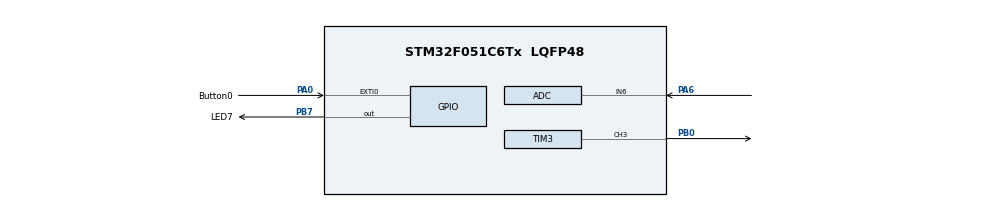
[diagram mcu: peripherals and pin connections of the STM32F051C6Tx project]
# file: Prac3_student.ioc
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ADC.Resolution=ADC_RESOLUTION_12B
Mcu.Family=STM32F0
Mcu.Name=STM32F051C6Tx
Mcu.Package=LQFP48
PA0.GPIO_Label=Button0
PA0.GPIO_PuPd=GPIO_PULLUP
PA0.Signal=GPXTI0
PA13.Mode=Serial_Wire
PA13.Signal=SYS_SWDIO
PA14.Mode=Serial_Wire
PA14.Signal=SYS_SWCLK
PA6.Mode=IN6
PA6.Signal=ADC_IN6
PB0.Signal=S_TIM3_CH3
PB7.GPIO_Label=LED7
PB7.Signal=GPIO_Output
PF0-OSC_IN.Mode=HSE-External-Oscillator
PF0-OSC_IN.Signal=RCC_OSC_IN
PF1-OSC_OUT.Mode=HSE-External-Oscillator
PF1-OSC_OUT.Signal=RCC_OSC_OUT
ProjectManager.HeapSize=0x200
ProjectManager.StackSize=0x400
ProjectManager.TargetToolchain=STM32CubeIDE
SH.S_TIM3_CH3.0=TIM3_CH3,PWM Generation3 CH3
TIM3.Channel-PWM\ Generation3\ CH3=TIM_CHANNEL_3
TIM3.Period=47999
VP_TIM3_VS_ClockSourceINT.Mode=Internal
board=custom

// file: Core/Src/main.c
/* USER CODE BEGIN Header */
/**
 ******************************************************************************
 * @file           : main.c
 * @brief          : Main program body
 ******************************************************************************
 * @attention
 *
 * Copyright (c) 2023 STMicroelectronics.
 * All rights reserved.
 *
 * This software is licensed under terms that can be found in the LICENSE file
 * in the root directory of this software component.
 * If no LICENSE file comes with this software, it is provided AS-IS.
 *
 ******************************************************************************
 */
/* USER CODE END Header */
#include "main.h"

/* USER CODE BEGIN Includes */
#include <stdio.h>
#include <lcd_stm32f0.c>
#include "stm32f0xx.h"
/* USER CODE END Includes */

ADC_HandleTypeDef hadc;

TIM_HandleTypeDef htim3;

/* USER CODE BEGIN PV */
uint32_t prev_millis = 0;
uint32_t curr_millis = 0;
uint32_t delay_t = 1000;  // Initialise delay to 500ms
uint32_t adc_val;
/* USER CODE END PV */

void SystemClock_Config(void);
static void MX_GPIO_Init(void);
static void MX_ADC_Init(void);
static void MX_TIM3_Init(void);
/* USER CODE BEGIN PFP */
void EXTI0_1_IRQHandler(void);
void writeLCD(char* char_in);
uint32_t pollADC(void);
uint32_t ADCtoCCR(uint32_t adc_val);
/* USER CODE END PFP */

int main(void) {

	/* MCU Configuration--------------------------------------------------------*/

	/* Reset of all peripherals, Initializes the Flash interface and the Systick. */
	HAL_Init();

	/* Configure the system clock */
	SystemClock_Config();

	/* Initialize all configured peripherals */
	MX_GPIO_Init();
	MX_ADC_Init();
	MX_TIM3_Init();
	/* USER CODE BEGIN 2 */
	init_LCD();

	// PWM setup
	uint32_t CCR = 0;
	HAL_TIM_PWM_Start(&htim3, TIM_CHANNEL_3);  // Start PWM on TIM3 Channel 3
	HAL_GPIO_TogglePin(GPIOB, LL_GPIO_PIN_0);

	/* USER CODE END 2 */

	/* Infinite loop */
	/* USER CODE BEGIN WHILE */
	while (1) {
		// Toggle LED0
		HAL_GPIO_TogglePin(GPIOB, LED7_Pin);

		// ADC to LCD; TODO: Read POT1 value and write to LCD
		char* value[5];
		adc_val = pollADC();			 // Get the value of the ADC
		sprintf(value, "%lu", adc_val);	 // convert to string
		writeLCD(value);				 // Write value to LCD
		// lcd_command(CLEAR);
		// lcd_putchar(val++);
		// Update PWM value; TODO: Get CRR
		CCR = ADCtoCCR(adc_val);						   // Get CRR value
		__HAL_TIM_SetCompare(&htim3, TIM_CHANNEL_3, CCR);  // Update PWM value

		// Wait for delay ms
		HAL_Delay(delay_t);
		/* USER CODE END WHILE */

	}
}

void SystemClock_Config(void) {
	LL_FLASH_SetLatency(LL_FLASH_LATENCY_0);
	while (LL_FLASH_GetLatency() != LL_FLASH_LATENCY_0) {
	}
	LL_RCC_HSI_Enable();

	/* Wait till HSI is ready */
	while (LL_RCC_HSI_IsReady() != 1) {
	}
	LL_RCC_HSI_SetCalibTrimming(16);
	LL_RCC_HSI14_Enable();

	/* Wait till HSI14 is ready */
	while (LL_RCC_HSI14_IsReady() != 1) {
	}
	LL_RCC_HSI14_SetCalibTrimming(16);
	LL_RCC_SetAHBPrescaler(LL_RCC_SYSCLK_DIV_1);
	LL_RCC_SetAPB1Prescaler(LL_RCC_APB1_DIV_1);
	LL_RCC_SetSysClkSource(LL_RCC_SYS_CLKSOURCE_HSI);

	/* Wait till System clock is ready */
	while (LL_RCC_GetSysClkSource() != LL_RCC_SYS_CLKSOURCE_STATUS_HSI) {
	}
	LL_SetSystemCoreClock(8000000);

	/* Update the time base */
	if (HAL_InitTick(TICK_INT_PRIORITY) != HAL_OK) {
		Error_Handler();
	}
	LL_RCC_HSI14_EnableADCControl();
}

static void MX_ADC_Init(void) {

	ADC_ChannelConfTypeDef sConfig = {0};

	/** Configure the global features of the ADC (Clock, Resolution, Data Alignment and number of conversion)
	 */
	hadc.Instance = ADC1;
	hadc.Init.ClockPrescaler = ADC_CLOCK_ASYNC_DIV1;
	hadc.Init.Resolution = ADC_RESOLUTION_12B;
	hadc.Init.DataAlign = ADC_DATAALIGN_RIGHT;
	hadc.Init.ScanConvMode = ADC_SCAN_DIRECTION_FORWARD;
	hadc.Init.EOCSelection = ADC_EOC_SINGLE_CONV;
	hadc.Init.LowPowerAutoWait = DISABLE;
	hadc.Init.LowPowerAutoPowerOff = DISABLE;
	hadc.Init.ContinuousConvMode = DISABLE;
	hadc.Init.DiscontinuousConvMode = DISABLE;
	hadc.Init.ExternalTrigConv = ADC_SOFTWARE_START;
	hadc.Init.ExternalTrigConvEdge = ADC_EXTERNALTRIGCONVEDGE_NONE;
	hadc.Init.DMAContinuousRequests = DISABLE;
	hadc.Init.Overrun = ADC_OVR_DATA_PRESERVED;
	if (HAL_ADC_Init(&hadc) != HAL_OK) {
		Error_Handler();
	}

	/** Configure for the selected ADC regular channel to be converted.
	 */
	sConfig.Channel = ADC_CHANNEL_7;
	sConfig.Rank = ADC_RANK_CHANNEL_NUMBER;
	sConfig.SamplingTime = ADC_SAMPLETIME_1CYCLE_5;
	if (HAL_ADC_ConfigChannel(&hadc, &sConfig) != HAL_OK) {
		Error_Handler();
	}
	/* USER CODE BEGIN ADC_Init 2 */
	ADC1->CR |= ADC_CR_ADCAL;
	while (ADC1->CR & ADC_CR_ADCAL)
		;				   // Calibrate the ADC
	ADC1->CR |= (1 << 0);  // Enable ADC
	while ((ADC1->ISR & (1 << 0)) == 0)
		;  // Wait for ADC ready
		   /* USER CODE END ADC_Init 2 */
}

static void MX_TIM3_Init(void) {

	TIM_ClockConfigTypeDef sClockSourceConfig = {0};
	TIM_MasterConfigTypeDef sMasterConfig = {0};
	TIM_OC_InitTypeDef sConfigOC = {0};

	htim3.Instance = TIM3;
	htim3.Init.Prescaler = 0;
	htim3.Init.CounterMode = TIM_COUNTERMODE_UP;
	htim3.Init.Period = 47999;
	htim3.Init.ClockDivision = TIM_CLOCKDIVISION_DIV1;
	htim3.Init.AutoReloadPreload = TIM_AUTORELOAD_PRELOAD_DISABLE;
	if (HAL_TIM_Base_Init(&htim3) != HAL_OK) {
		Error_Handler();
	}
	sClockSourceConfig.ClockSource = TIM_CLOCKSOURCE_INTERNAL;
	if (HAL_TIM_ConfigClockSource(&htim3, &sClockSourceConfig) != HAL_OK) {
		Error_Handler();
	}
	if (HAL_TIM_PWM_Init(&htim3) != HAL_OK) {
		Error_Handler();
	}
	sMasterConfig.MasterOutputTrigger = TIM_TRGO_RESET;
	sMasterConfig.MasterSlaveMode = TIM_MASTERSLAVEMODE_DISABLE;
	if (HAL_TIMEx_MasterConfigSynchronization(&htim3, &sMasterConfig) != HAL_OK) {
		Error_Handler();
	}
	sConfigOC.OCMode = TIM_OCMODE_PWM1;
	sConfigOC.Pulse = 0;
	sConfigOC.OCPolarity = TIM_OCPOLARITY_HIGH;
	sConfigOC.OCFastMode = TIM_OCFAST_DISABLE;
	if (HAL_TIM_PWM_ConfigChannel(&htim3, &sConfigOC, TIM_CHANNEL_3) != HAL_OK) {
		Error_Handler();
	}
	HAL_TIM_MspPostInit(&htim3);
}

static void MX_GPIO_Init(void) {
	LL_EXTI_InitTypeDef EXTI_InitStruct = {0};
	LL_GPIO_InitTypeDef GPIO_InitStruct = {0};

	/* GPIO Ports Clock Enable */
	LL_AHB1_GRP1_EnableClock(LL_AHB1_GRP1_PERIPH_GPIOF);
	LL_AHB1_GRP1_EnableClock(LL_AHB1_GRP1_PERIPH_GPIOA);
	LL_AHB1_GRP1_EnableClock(LL_AHB1_GRP1_PERIPH_GPIOB);

	/**/
	LL_GPIO_ResetOutputPin(LED7_GPIO_Port, LED7_Pin);

	/**/
	LL_SYSCFG_SetEXTISource(LL_SYSCFG_EXTI_PORTA, LL_SYSCFG_EXTI_LINE0);

	/**/
	LL_GPIO_SetPinPull(Button0_GPIO_Port, Button0_Pin, LL_GPIO_PULL_UP);

	/**/
	LL_GPIO_SetPinMode(Button0_GPIO_Port, Button0_Pin, LL_GPIO_MODE_INPUT);

	/**/
	EXTI_InitStruct.Line_0_31 = LL_EXTI_LINE_0;
	EXTI_InitStruct.LineCommand = ENABLE;
	EXTI_InitStruct.Mode = LL_EXTI_MODE_IT;
	EXTI_InitStruct.Trigger = LL_EXTI_TRIGGER_RISING;
	LL_EXTI_Init(&EXTI_InitStruct);

	/**/
	GPIO_InitStruct.Pin = LED7_Pin;
	GPIO_InitStruct.Mode = LL_GPIO_MODE_OUTPUT;
	GPIO_InitStruct.Speed = LL_GPIO_SPEED_FREQ_LOW;
	GPIO_InitStruct.OutputType = LL_GPIO_OUTPUT_PUSHPULL;
	GPIO_InitStruct.Pull = LL_GPIO_PULL_NO;
	LL_GPIO_Init(LED7_GPIO_Port, &GPIO_InitStruct);

	/* USER CODE BEGIN MX_GPIO_Init_2 */
	HAL_NVIC_SetPriority(EXTI0_1_IRQn, 0, 0);
	HAL_NVIC_EnableIRQ(EXTI0_1_IRQn);
	/* USER CODE END MX_GPIO_Init_2 */
}

/* USER CODE BEGIN 4 */
void EXTI0_1_IRQHandler(void) {
	// TODO: Add code to switch LED7 delay frequency

	curr_millis = HAL_GetTick();

	// Check if the button might be a double press
	if (curr_millis - prev_millis > 10) {
		// Toggle the delay when button 0 is clicked
		if (delay_t == 500)
			delay_t = 1000;
		else
			delay_t = 500;

		prev_millis = HAL_GetTick();
	}

	HAL_GPIO_EXTI_IRQHandler(Button0_Pin);	// Clear interrupt flags
}

// TODO: Complete the writeLCD function
void writeLCD(char* char_in) {
	lcd_command(CLEAR);		 // Clear display
	lcd_putstring(char_in);	 // write to display
	delay(3000);			 // Delay
}

// Get ADC value
uint32_t pollADC(void) {
	// TODO: Complete function body to get ADC val
	HAL_ADC_Start(&hadc);					 // Start sampling
	uint32_t val = HAL_ADC_GetValue(&hadc);	 // Get ADC value
	HAL_ADC_Stop(&hadc);					 // Stop sampling
	return val;
}

// Calculate PWM CCR value
uint32_t ADCtoCCR(uint32_t adc_val) {
	// TODO: Calculate CCR val using an appropriate equation
	float duty_cycle = ((float)adc_val) / 4095.0f;	// Percentage of time the LED is on
	uint32_t val = duty_cycle * 47999;				// The CRR value
	return val;
}

void ADC1_COMP_IRQHandler(void) {
	adc_val = HAL_ADC_GetValue(&hadc);	// read adc value
	HAL_ADC_IRQHandler(&hadc);			// Clear flags
}
/* USER CODE END 4 */

void Error_Handler(void) {
	__disable_irq();
	while (1) {
	}
}
